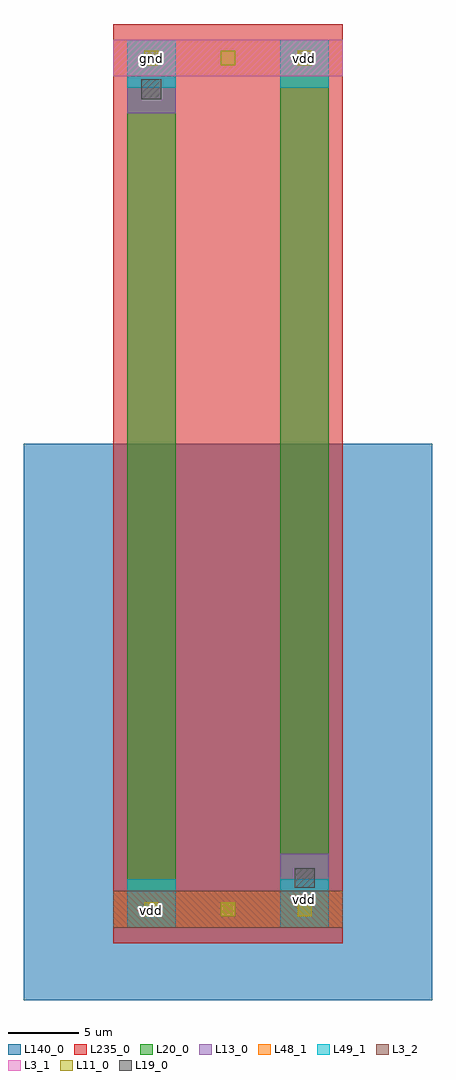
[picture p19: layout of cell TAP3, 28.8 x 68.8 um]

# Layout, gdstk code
import gdstk
lib = gdstk.Library(unit=1e-6, precision=1e-09)
def R(c, l, rs):  # rectangles x0, y0, x1, y1
    for r in rs: c.add(gdstk.rectangle(r[:2], r[2:], *l))
def A(c, l, x, y, w, h, nx, ny, dx, dy):  # array of equal rectangles
    R(c, l, [(x+i*dx, y+j*dy, x+i*dx+w, y+j*dy+h) for i in range(nx) for j in range(ny)])
def P(c, l, *ps):  # polygons
    for p in ps: c.add(gdstk.Polygon(p, *l))
L3_1 = (3, 1)
L3_2 = (3, 2)
L11_0 = (11, 0)
L13_0 = (13, 0)
L19_0 = (19, 0)
L20_0 = (20, 0)
L48_1 = (48, 1)
L49_1 = (49, 1)
L140_0 = (140, 0)
L235_0 = (235, 0)

tap3 = lib.new_cell('TAP3')
R(tap3, L3_1, [(0,-3.7,16.2,-1.1)])
R(tap3, L3_2, [(0,-63.7,16.2,-61.1)])
A(tap3, L11_0, 2.2, -62.9, 1, 1, 3, 2, 5.4, 60)
R(tap3, L11_0, [(2.2,-62.9,3.2,-61.9), (13,-2.9,14,-1.9)])
P(tap3, L13_0, [(1,-6.3),(1,-3.7),(0,-3.7),(0,-1.1),(16.2,-1.1),(16.2,-3.7),(4.4,-3.7),(4.4,-6.3)],
  [(0,-63.7),(0,-61.1),(11.8,-61.1),(11.8,-58.5),(15.2,-58.5),(15.2,-61.1),(16.2,-61.1),(16.2,-63.7)])
R(tap3, L19_0, [(12.8,-60.9,14.2,-59.5), (2,-5.3,3.4,-3.9)])
R(tap3, L20_0, [(1,-63.7,4.4,-1.1), (11.8,-63.7,15.2,-1.1)])
R(tap3, L48_1, [(0,-63.7,16.2,-61.1), (0,-3.7,16.2,-1.1)])
R(tap3, L49_1, [(1,-63.7,4.4,-60.3), (11.8,-63.7,15.2,-60.3), (1,-4.5,4.4,-1.1), (11.8,-4.5,15.2,-1.1)])
R(tap3, L140_0, [(-6.3,-68.8,22.5,-29.6)])
R(tap3, L235_0, [(0,-64.8,16.2,0)])
tap3.add(gdstk.Label('gnd', (2.7,-2.4), layer=48, texttype=0))
tap3.add(gdstk.Label('vdd', (2.7,-62.5), layer=48, texttype=0))
tap3.add(gdstk.Label('vdd', (13.5,-61.7), layer=49, texttype=0))
tap3.add(gdstk.Label('gnd', (2.6,-3.1), layer=49, texttype=0))
tap3.add(gdstk.Label('vdd', (13.5,-2.4), layer=49, texttype=0))
tap3.add(gdstk.Label('gnd', (2.6,-62.3), layer=49, texttype=0))

lib.write_gds('TAP3.gds')
